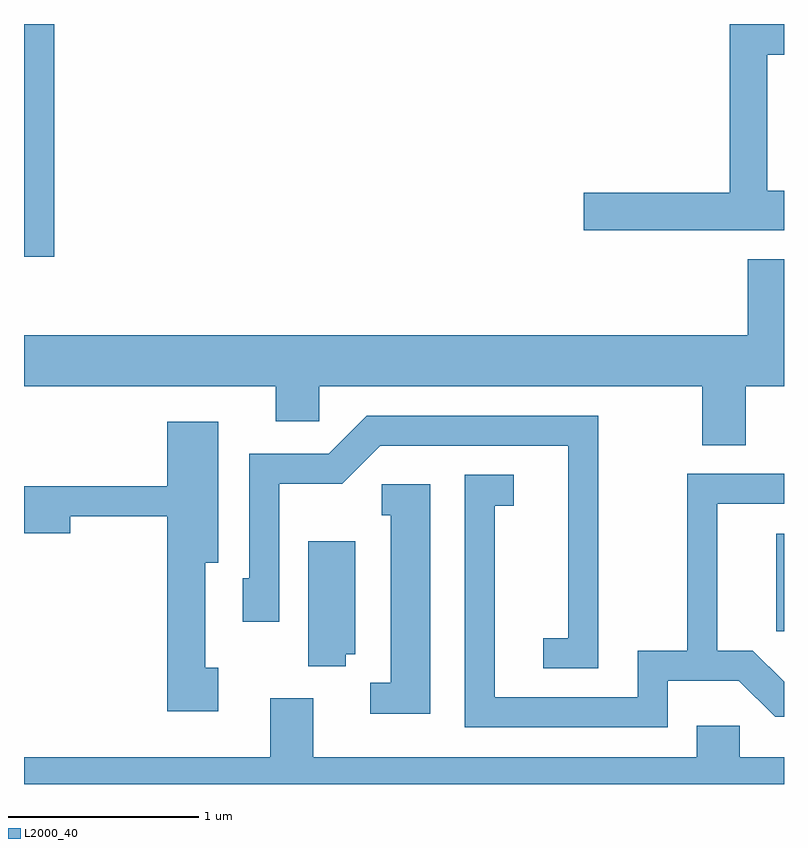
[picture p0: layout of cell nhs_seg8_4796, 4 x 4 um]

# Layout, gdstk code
import gdstk
lib = gdstk.Library(unit=1e-6, precision=1e-09)
def R(c, l, rs):  # rectangles x0, y0, x1, y1
    for r in rs: c.add(gdstk.rectangle(r[:2], r[2:], *l))
def P(c, l, *ps):  # polygons
    for p in ps: c.add(gdstk.Polygon(p, *l))
L2000_40 = (2000, 40)

nhs_seg8_4796 = lib.new_cell('nhs_seg8_4796')
R(nhs_seg8_4796, L2000_40, [(333.571,1815.146,333.611,1815.659), (329.611,1817.118,329.769,1818.342)])
P(nhs_seg8_4796, L2000_40, [(333.611,1817.464),(333.524,1817.464),(333.524,1818.181),(333.611,1818.181),(333.611,1818.342),(333.326,1818.342),(333.326,1817.454),(332.556,1817.454),(332.556,1817.256),(333.611,1817.256)],
  [(333.409,1816.436),(333.611,1816.436),(333.611,1817.104),(333.421,1817.104),(333.421,1816.704),(329.611,1816.704),(329.611,1816.436),(330.936,1816.436),(330.936,1816.251),(331.164,1816.251),(331.164,1816.436),(333.181,1816.436),(333.181,1816.126),(333.409,1816.126)],
  [(332.634,1816.279),(331.414,1816.279),(331.214,1816.079),(330.796,1816.079),(330.796,1815.424),(330.761,1815.424),(330.761,1815.196),(330.954,1815.196),(330.954,1815.921),(331.287,1815.921),(331.487,1816.121),(332.476,1816.121),(332.476,1815.109),(332.343,1815.109),(332.343,1814.951),(332.634,1814.951)],
  [(330.634,1814.954),(330.564,1814.954),(330.564,1815.506),(330.634,1815.506),(330.634,1816.249),(330.366,1816.249),(330.366,1815.909),(329.611,1815.909),(329.611,1815.661),(329.854,1815.661),(329.854,1815.751),(330.366,1815.751),(330.366,1814.726),(330.634,1814.726)],
  [(332.999,1814.886),(333.374,1814.886),(333.564,1814.696),(333.611,1814.696),(333.611,1814.88),(333.447,1815.044),(333.259,1815.044),(333.259,1815.816),(333.611,1815.816),(333.611,1815.974),(333.101,1815.974),(333.101,1815.044),(332.841,1815.044),(332.841,1814.799),(332.089,1814.799),(332.089,1815.806),(332.188,1815.806),(332.188,1815.969),(331.931,1815.969),(331.931,1814.641),(332.999,1814.641)],
  [(331.749,1815.919),(331.493,1815.919),(331.493,1815.756),(331.541,1815.756),(331.541,1814.874),(331.433,1814.874),(331.433,1814.711),(331.749,1814.711)],
  [(331.304,1815.026),(331.354,1815.026),(331.354,1815.619),(331.106,1815.619),(331.106,1814.961),(331.304,1814.961)],
  [(333.611,1814.484),(333.379,1814.484),(333.379,1814.649),(333.151,1814.649),(333.151,1814.484),(331.134,1814.484),(331.134,1814.794),(330.906,1814.794),(330.906,1814.484),(329.611,1814.484),(329.611,1814.342),(333.611,1814.342)])

lib.write_gds('nhs_seg8_4796.gds')
